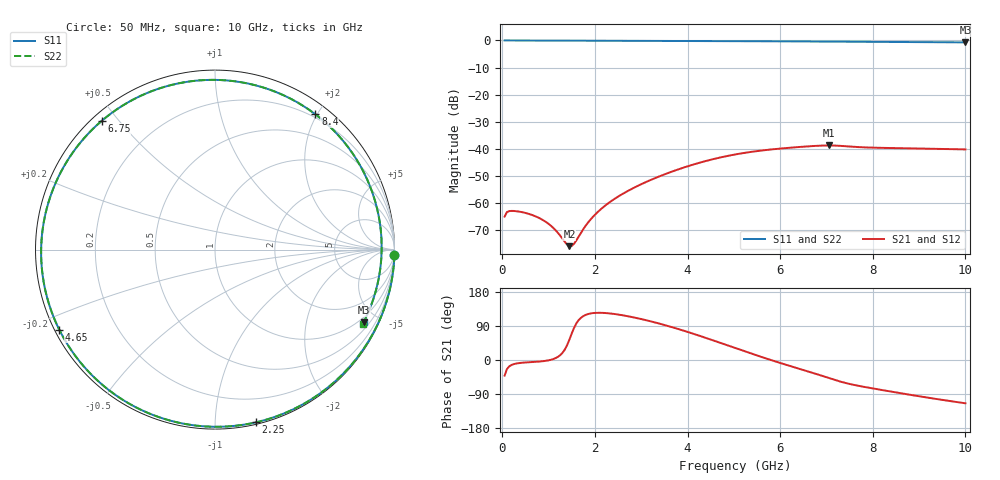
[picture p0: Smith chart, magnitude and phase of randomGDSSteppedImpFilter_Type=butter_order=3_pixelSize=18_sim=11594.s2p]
! freq	dB(S11)	phase(S11)	dB(S12)	phase(S12)
!  dB(S21)	phase(S21)	dB(S22)	phase(S22)
!S-par simulation data
#  GHz  S  DB  R 50
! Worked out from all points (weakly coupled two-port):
!   200 points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, 50 MHz to 10 GHz, reference 50 ohm
!   highest |S21| = -38.83 dB at 7.05 GHz (marker M1); lowest = -76.1 dB at 1.45 GHz (marker M2)
!   lowest |S11| = -0.7 dB at 10 GHz (marker M3), VSWR 24.45, Z = 39 - j209 ohm
!   |S11| at or under -10 dB: nowhere
!   |S22| runs from -0.7 to 0.0 dB; largest |S21 - S12| = 0
!   S11 on the Smith chart (normalised r, x): 50 MHz: 0, -65; 2.25 GHz: 0.01, -1.26; 4.65 GHz: 0.01, -0.24; 6.75 GHz: 0.03, +0.45; 8.4 GHz: 0.16, +1.98; 10 GHz: 0.78, -4.18
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0.05  -0.00 -1.8  -65.12 -41.3  -65.12 -41.3  -0.00 -1.8
0.2  -0.00 -7.1  -63.02 -13.0  -63.02 -13.0  -0.00 -7.1
0.75  -0.03 -26.3  -65.27 -4.6  -65.27 -4.6  -0.03 -26.3
1.05  -0.04 -36.7  -68.52 0.6  -68.52 0.6  -0.04 -36.7
1.45  -0.06 -50.2  -76.06 54.1  -76.06 54.1  -0.06 -50.3
1.55  -0.07 -53.6  -75.14 85.0  -75.14 85.0  -0.07 -53.6
1.75  -0.08 -60.3  -69.74 115.9  -69.74 115.9  -0.08 -60.3
2.25  -0.10 -76.7  -60.68 123.7  -60.68 123.7  -0.10 -76.7
3.4  -0.14 -113.3  -50.20 95.8  -50.20 95.8  -0.14 -113.4
4.65  -0.21 -152.8  -43.49 47.7  -43.49 47.7  -0.22 -152.9
5.05  -0.24 -165.9  -42.08 30.7  -42.08 30.7  -0.24 -166.0
5.9  -0.31 164.6  -40.14 -4.0  -40.14 -4.0  -0.31 164.4
6.7  -0.39 133.5  -39.05 -33.9  -39.05 -33.9  -0.39 133.2
6.75  -0.40 131.4  -39.00 -35.8  -39.00 -35.8  -0.40 131.1
7.05  -0.43 118.5  -38.83 -47.5  -38.83 -47.5  -0.43 118.2
7.7  -0.49 88.5  -39.44 -68.3  -39.44 -68.3  -0.49 88.0
8.35  -0.55 56.0  -39.76 -82.4  -39.76 -82.4  -0.55 55.4
8.4  -0.55 53.4  -39.77 -83.5  -39.77 -83.5  -0.55 52.8
8.8  -0.58 32.8  -39.87 -91.7  -39.87 -91.7  -0.58 32.2
9.2  -0.62 12.4  -39.98 -99.6  -39.98 -99.6  -0.62 11.8
9.6  -0.66 -7.4  -40.11 -107.1  -40.11 -107.1  -0.66 -8.0
10  -0.71 -26.1  -40.28 -114.2  -40.28 -114.2  -0.71 -26.6
